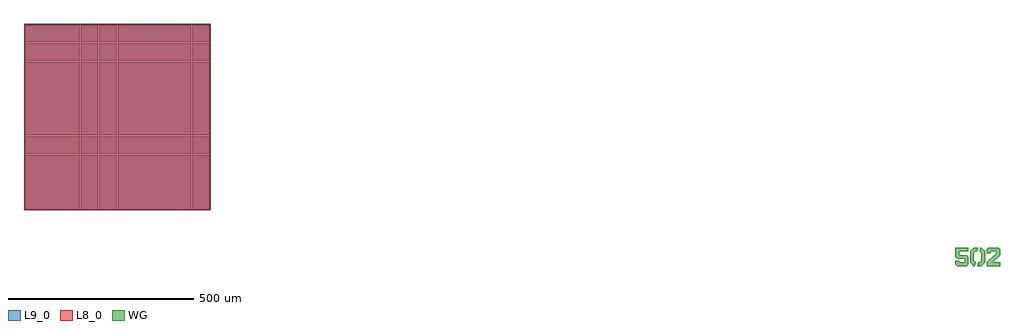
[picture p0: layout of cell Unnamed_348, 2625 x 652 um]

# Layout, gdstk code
import gdstk
lib = gdstk.Library(unit=1e-6, precision=1e-09)
def R(c, l, rs):  # rectangles x0, y0, x1, y1
    for r in rs: c.add(gdstk.rectangle(r[:2], r[2:], *l))
def P(c, l, *ps):  # polygons
    for p in ps: c.add(gdstk.Polygon(p, *l))
WG = (1, 0)
L8_0 = (8, 0)
L9_0 = (9, 0)

unnamed_339 = lib.new_cell('Unnamed_339')

unnamed_338 = lib.new_cell('Unnamed_338')

unnamed_337 = lib.new_cell('Unnamed_337')

unnamed_335 = lib.new_cell('Unnamed_335')

unnamed_336 = lib.new_cell('Unnamed_336')

unnamed_334 = lib.new_cell('Unnamed_334')

unnamed_333 = lib.new_cell('Unnamed_333')

rectangle_s502_502_l9_0_ = lib.new_cell('rectangle_S502_502_L9_0_4ab4302d')
R(rectangle_s502_502_l9_0_, L9_0, [(0,0,502,502)])

rectangle_s48_48_l8_0_c_ = lib.new_cell('rectangle_S48_48_L8_0_C_260456f4')
R(rectangle_s48_48_l8_0_c_, L8_0, [(0,0,48,48)])

text_t502_s50_p0_0_jleft = lib.new_cell('text_T502_S50_P0_0_Jleft_L1_0')
P(text_t502_s50_p0_0_jleft, WG, [(90,0),(90,10),(115,35),(115,40),(100,40),(100,35),(90,35),(90,45),(95,50),(120,50),(125,45),(125,30),(105,10),(125,10),(125,0)],
  [(63.5,0),(66,10),(70,10),(75,15),(75,35),(70,40),(72.5,50),(75,50),(85,40),(85,10),(75,0)],
  [(55,0),(45,10),(45,40),(55,50),(66.5,50),(64,40),(60,40),(55,35),(55,15),(60,10),(57.5,0)],
  [(10,0),(5,5),(5,15),(15,15),(15,10),(30,10),(30,20),(10,20),(5,25),(5,50),(40,50),(40,40),(15,40),(15,30),(35,30),(40,25),(40,5),(35,0)])

unnamed_332 = lib.new_cell('Unnamed_332')
unnamed_332.add(gdstk.Reference(rectangle_s502_502_l9_0_, (0,0)))
unnamed_332.add(gdstk.Reference(rectangle_s48_48_l8_0_c_, (2,2)))
unnamed_332.add(gdstk.Reference(rectangle_s48_48_l8_0_c_, (52,2)))
unnamed_332.add(gdstk.Reference(rectangle_s48_48_l8_0_c_, (102,2)))
unnamed_332.add(gdstk.Reference(rectangle_s48_48_l8_0_c_, (152,2)))
unnamed_332.add(gdstk.Reference(rectangle_s48_48_l8_0_c_, (202,2)))
unnamed_332.add(gdstk.Reference(rectangle_s48_48_l8_0_c_, (252,2)))
unnamed_332.add(gdstk.Reference(rectangle_s48_48_l8_0_c_, (302,2)))
unnamed_332.add(gdstk.Reference(rectangle_s48_48_l8_0_c_, (352,2)))
unnamed_332.add(gdstk.Reference(rectangle_s48_48_l8_0_c_, (402,2)))
unnamed_332.add(gdstk.Reference(rectangle_s48_48_l8_0_c_, (452,2)))
unnamed_332.add(gdstk.Reference(rectangle_s48_48_l8_0_c_, (2,52)))
unnamed_332.add(gdstk.Reference(rectangle_s48_48_l8_0_c_, (52,52)))
unnamed_332.add(gdstk.Reference(rectangle_s48_48_l8_0_c_, (102,52)))
unnamed_332.add(gdstk.Reference(rectangle_s48_48_l8_0_c_, (152,52)))
unnamed_332.add(gdstk.Reference(rectangle_s48_48_l8_0_c_, (202,52)))
unnamed_332.add(gdstk.Reference(rectangle_s48_48_l8_0_c_, (252,52)))
unnamed_332.add(gdstk.Reference(rectangle_s48_48_l8_0_c_, (302,52)))
unnamed_332.add(gdstk.Reference(rectangle_s48_48_l8_0_c_, (352,52)))
unnamed_332.add(gdstk.Reference(rectangle_s48_48_l8_0_c_, (402,52)))
unnamed_332.add(gdstk.Reference(rectangle_s48_48_l8_0_c_, (452,52)))
unnamed_332.add(gdstk.Reference(rectangle_s48_48_l8_0_c_, (2,102)))
unnamed_332.add(gdstk.Reference(rectangle_s48_48_l8_0_c_, (52,102)))
unnamed_332.add(gdstk.Reference(rectangle_s48_48_l8_0_c_, (102,102)))
unnamed_332.add(gdstk.Reference(rectangle_s48_48_l8_0_c_, (152,102)))
unnamed_332.add(gdstk.Reference(rectangle_s48_48_l8_0_c_, (202,102)))
unnamed_332.add(gdstk.Reference(rectangle_s48_48_l8_0_c_, (252,102)))
unnamed_332.add(gdstk.Reference(rectangle_s48_48_l8_0_c_, (302,102)))
unnamed_332.add(gdstk.Reference(rectangle_s48_48_l8_0_c_, (352,102)))
unnamed_332.add(gdstk.Reference(rectangle_s48_48_l8_0_c_, (402,102)))
unnamed_332.add(gdstk.Reference(rectangle_s48_48_l8_0_c_, (452,102)))
unnamed_332.add(gdstk.Reference(rectangle_s48_48_l8_0_c_, (2,152)))
unnamed_332.add(gdstk.Reference(rectangle_s48_48_l8_0_c_, (52,152)))
unnamed_332.add(gdstk.Reference(rectangle_s48_48_l8_0_c_, (102,152)))
unnamed_332.add(gdstk.Reference(rectangle_s48_48_l8_0_c_, (152,152)))
unnamed_332.add(gdstk.Reference(rectangle_s48_48_l8_0_c_, (202,152)))
unnamed_332.add(gdstk.Reference(rectangle_s48_48_l8_0_c_, (252,152)))
unnamed_332.add(gdstk.Reference(rectangle_s48_48_l8_0_c_, (302,152)))
unnamed_332.add(gdstk.Reference(rectangle_s48_48_l8_0_c_, (352,152)))
unnamed_332.add(gdstk.Reference(rectangle_s48_48_l8_0_c_, (402,152)))
unnamed_332.add(gdstk.Reference(rectangle_s48_48_l8_0_c_, (452,152)))
unnamed_332.add(gdstk.Reference(rectangle_s48_48_l8_0_c_, (2,202)))
unnamed_332.add(gdstk.Reference(rectangle_s48_48_l8_0_c_, (52,202)))
unnamed_332.add(gdstk.Reference(rectangle_s48_48_l8_0_c_, (102,202)))
unnamed_332.add(gdstk.Reference(rectangle_s48_48_l8_0_c_, (152,202)))
unnamed_332.add(gdstk.Reference(rectangle_s48_48_l8_0_c_, (202,202)))
unnamed_332.add(gdstk.Reference(rectangle_s48_48_l8_0_c_, (252,202)))
unnamed_332.add(gdstk.Reference(rectangle_s48_48_l8_0_c_, (302,202)))
unnamed_332.add(gdstk.Reference(rectangle_s48_48_l8_0_c_, (352,202)))
unnamed_332.add(gdstk.Reference(rectangle_s48_48_l8_0_c_, (402,202)))
unnamed_332.add(gdstk.Reference(rectangle_s48_48_l8_0_c_, (452,202)))
unnamed_332.add(gdstk.Reference(rectangle_s48_48_l8_0_c_, (2,252)))
unnamed_332.add(gdstk.Reference(rectangle_s48_48_l8_0_c_, (52,252)))
unnamed_332.add(gdstk.Reference(rectangle_s48_48_l8_0_c_, (102,252)))
unnamed_332.add(gdstk.Reference(rectangle_s48_48_l8_0_c_, (152,252)))
unnamed_332.add(gdstk.Reference(rectangle_s48_48_l8_0_c_, (202,252)))
unnamed_332.add(gdstk.Reference(rectangle_s48_48_l8_0_c_, (252,252)))
unnamed_332.add(gdstk.Reference(rectangle_s48_48_l8_0_c_, (302,252)))
unnamed_332.add(gdstk.Reference(rectangle_s48_48_l8_0_c_, (352,252)))
unnamed_332.add(gdstk.Reference(rectangle_s48_48_l8_0_c_, (402,252)))
unnamed_332.add(gdstk.Reference(rectangle_s48_48_l8_0_c_, (452,252)))
unnamed_332.add(gdstk.Reference(rectangle_s48_48_l8_0_c_, (2,302)))
unnamed_332.add(gdstk.Reference(rectangle_s48_48_l8_0_c_, (52,302)))
unnamed_332.add(gdstk.Reference(rectangle_s48_48_l8_0_c_, (102,302)))
unnamed_332.add(gdstk.Reference(rectangle_s48_48_l8_0_c_, (152,302)))
unnamed_332.add(gdstk.Reference(rectangle_s48_48_l8_0_c_, (202,302)))
unnamed_332.add(gdstk.Reference(rectangle_s48_48_l8_0_c_, (252,302)))
unnamed_332.add(gdstk.Reference(rectangle_s48_48_l8_0_c_, (302,302)))
unnamed_332.add(gdstk.Reference(rectangle_s48_48_l8_0_c_, (352,302)))
unnamed_332.add(gdstk.Reference(rectangle_s48_48_l8_0_c_, (402,302)))
unnamed_332.add(gdstk.Reference(rectangle_s48_48_l8_0_c_, (452,302)))
unnamed_332.add(gdstk.Reference(rectangle_s48_48_l8_0_c_, (2,352)))
unnamed_332.add(gdstk.Reference(rectangle_s48_48_l8_0_c_, (52,352)))
unnamed_332.add(gdstk.Reference(rectangle_s48_48_l8_0_c_, (102,352)))
unnamed_332.add(gdstk.Reference(rectangle_s48_48_l8_0_c_, (152,352)))
unnamed_332.add(gdstk.Reference(rectangle_s48_48_l8_0_c_, (202,352)))
unnamed_332.add(gdstk.Reference(rectangle_s48_48_l8_0_c_, (252,352)))
unnamed_332.add(gdstk.Reference(rectangle_s48_48_l8_0_c_, (302,352)))
unnamed_332.add(gdstk.Reference(rectangle_s48_48_l8_0_c_, (352,352)))
unnamed_332.add(gdstk.Reference(rectangle_s48_48_l8_0_c_, (402,352)))
unnamed_332.add(gdstk.Reference(rectangle_s48_48_l8_0_c_, (452,352)))
unnamed_332.add(gdstk.Reference(rectangle_s48_48_l8_0_c_, (2,402)))
unnamed_332.add(gdstk.Reference(rectangle_s48_48_l8_0_c_, (52,402)))
unnamed_332.add(gdstk.Reference(rectangle_s48_48_l8_0_c_, (102,402)))
unnamed_332.add(gdstk.Reference(rectangle_s48_48_l8_0_c_, (152,402)))
unnamed_332.add(gdstk.Reference(rectangle_s48_48_l8_0_c_, (202,402)))
unnamed_332.add(gdstk.Reference(rectangle_s48_48_l8_0_c_, (252,402)))
unnamed_332.add(gdstk.Reference(rectangle_s48_48_l8_0_c_, (302,402)))
unnamed_332.add(gdstk.Reference(rectangle_s48_48_l8_0_c_, (352,402)))
unnamed_332.add(gdstk.Reference(rectangle_s48_48_l8_0_c_, (402,402)))
unnamed_332.add(gdstk.Reference(rectangle_s48_48_l8_0_c_, (452,402)))
unnamed_332.add(gdstk.Reference(rectangle_s48_48_l8_0_c_, (2,452)))
unnamed_332.add(gdstk.Reference(rectangle_s48_48_l8_0_c_, (52,452)))
unnamed_332.add(gdstk.Reference(rectangle_s48_48_l8_0_c_, (102,452)))
unnamed_332.add(gdstk.Reference(rectangle_s48_48_l8_0_c_, (152,452)))
unnamed_332.add(gdstk.Reference(rectangle_s48_48_l8_0_c_, (202,452)))
unnamed_332.add(gdstk.Reference(rectangle_s48_48_l8_0_c_, (252,452)))
unnamed_332.add(gdstk.Reference(rectangle_s48_48_l8_0_c_, (302,452)))
unnamed_332.add(gdstk.Reference(rectangle_s48_48_l8_0_c_, (352,452)))
unnamed_332.add(gdstk.Reference(rectangle_s48_48_l8_0_c_, (402,452)))
unnamed_332.add(gdstk.Reference(rectangle_s48_48_l8_0_c_, (452,452)))
unnamed_332.add(gdstk.Reference(text_t502_s50_p0_0_jleft, (2500,-150)))

unnamed_348 = lib.new_cell('Unnamed_348')
unnamed_348.add(gdstk.Reference(unnamed_339, (0,0)))
unnamed_348.add(gdstk.Reference(unnamed_338, (0,0)))
unnamed_348.add(gdstk.Reference(unnamed_337, (0,0)))
unnamed_348.add(gdstk.Reference(unnamed_335, (0,0)))
unnamed_348.add(gdstk.Reference(unnamed_336, (0,0)))
unnamed_348.add(gdstk.Reference(unnamed_334, (0,0)))
unnamed_348.add(gdstk.Reference(unnamed_333, (0,0)))
unnamed_348.add(gdstk.Reference(unnamed_332, (0,0)))
unnamed_348.add(gdstk.Reference(unnamed_332, (0,0)))

lib.write_gds('Unnamed_348.gds')
